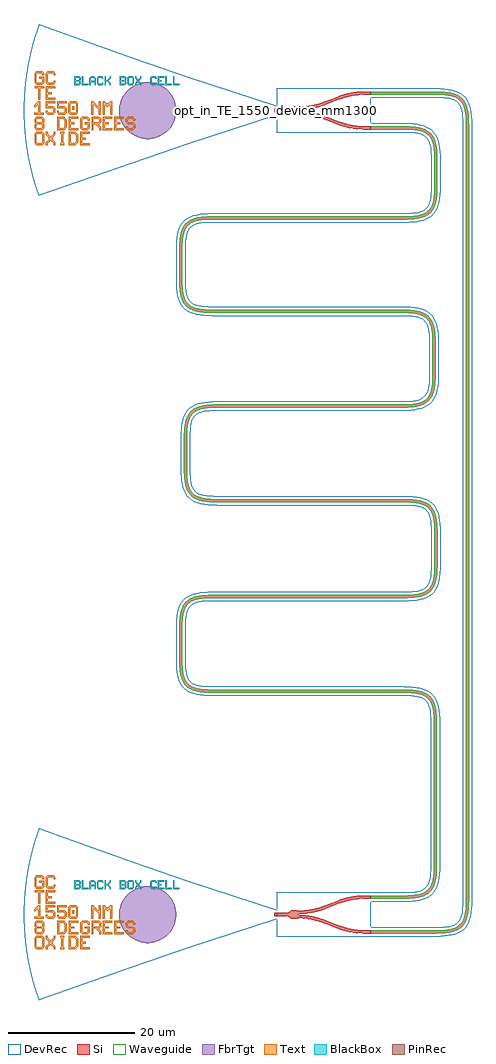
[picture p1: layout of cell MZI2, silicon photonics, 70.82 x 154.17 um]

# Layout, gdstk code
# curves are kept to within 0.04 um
import gdstk
lib = gdstk.Library(unit=1e-6, precision=1e-09)
def R(c, l, rs):  # rectangles x0, y0, x1, y1
    for r in rs: c.add(gdstk.rectangle(r[:2], r[2:], *l))
def P(c, l, *ps):  # polygons
    for p in ps: c.add(gdstk.Polygon(p, *l))
Si = (1, 0)
PinRec = (1, 10)
Waveguide = (1, 99)
Text = (10, 0)
DevRec = (68, 0)
FbrTgt = (81, 0)
BlackBox = (998, 0)

text = lib.new_cell('TEXT')
P(text, BlackBox, [(0,0),(0,1.4),(0.8,1.4),(1,1.2),(0.2,1.2),(0.2,0.8),(0.7,0.8),(0.8,0.9),(0.8,1.1),(0.7,1.2),(1,1.2),(1,0.8),(0.9,0.7),(1,0.6),(0.2,0.6),(0.2,0.2),(0.7,0.2),(0.8,0.3),(0.8,0.5),(0.7,0.6),(1,0.6),(1,0.2),(0.8,0)],
  [(1.2,0),(1.2,1.4),(1.4,1.4),(1.4,0.2),(2.2,0.2),(2.2,0)],
  [(2.4,0),(2.4,1.1),(2.7,1.4),(3.1,1.4),(3.3,1.2),(2.8,1.2),(2.6,1),(2.6,0.7),(3.2,0.7),(3.2,1),(3,1.2),(3.3,1.2),(3.4,1.1),(3.4,0),(3.2,0),(3.2,0.5),(2.6,0.5),(2.6,0)],
  [(3.8,0),(3.6,0.2),(3.6,1.2),(3.8,1.4),(4.4,1.4),(4.6,1.2),(4.6,1),(4.4,1),(4.4,1.1),(4.3,1.2),(3.9,1.2),(3.8,1.1),(3.8,0.3),(3.9,0.2),(4.3,0.2),(4.4,0.3),(4.4,0.4),(4.6,0.4),(4.6,0.2),(4.4,0)],
  [(4.8,0),(4.8,1.4),(5,1.4),(5,0.8),(5.2,0.8),(5.6,1.2),(5.6,1.4),(5.8,1.4),(5.8,1.1),(5.4,0.7),(5.8,0.3),(5.8,0),(5.6,0),(5.6,0.2),(5.2,0.6),(5,0.6),(5,0)],
  [(7.2,0),(7.2,1.4),(8,1.4),(8.2,1.2),(7.4,1.2),(7.4,0.8),(7.9,0.8),(8,0.9),(8,1.1),(7.9,1.2),(8.2,1.2),(8.2,0.8),(8.1,0.7),(8.2,0.6),(7.4,0.6),(7.4,0.2),(7.9,0.2),(8,0.3),(8,0.5),(7.9,0.6),(8.2,0.6),(8.2,0.2),(8,0)],
  [(8.6,0),(8.4,0.2),(8.4,1.2),(8.6,1.4),(9.2,1.4),(9.4,1.2),(9.4,0.7),(9.2,0.7),(9.2,1.1),(9.1,1.2),(8.7,1.2),(8.6,1.1),(8.6,0.3),(8.7,0.2),(9.1,0.2),(9.2,0.3),(9.2,0.7),(9.4,0.7),(9.4,0.2),(9.2,0)],
  [(9.6,0),(9.6,0.3),(9.9,0.6),(9.9,0.8),(9.6,1.1),(9.6,1.4),(9.8,1.4),(9.8,1.2),(10.1,0.9),(10.4,1.2),(10.4,1.4),(10.6,1.4),(10.6,1.1),(10.3,0.8),(10.3,0.6),(10.6,0.3),(10.6,0),(10.4,0),(10.4,0.2),(10.1,0.5),(9.8,0.2),(9.8,0)],
  [(12.2,0),(12,0.2),(12,1.2),(12.2,1.4),(12.8,1.4),(13,1.2),(13,1),(12.8,1),(12.8,1.1),(12.7,1.2),(12.3,1.2),(12.2,1.1),(12.2,0.3),(12.3,0.2),(12.7,0.2),(12.8,0.3),(12.8,0.4),(13,0.4),(13,0.2),(12.8,0)],
  [(13.2,0),(13.2,1.4),(14.2,1.4),(14.2,1.2),(13.4,1.2),(13.4,0.8),(13.8,0.8),(13.8,0.6),(13.4,0.6),(13.4,0.2),(14.2,0.2),(14.2,0)],
  [(14.4,0),(14.4,1.4),(14.6,1.4),(14.6,0.2),(15.4,0.2),(15.4,0)],
  [(15.6,0),(15.6,1.4),(15.8,1.4),(15.8,0.2),(16.6,0.2),(16.6,0)])

gc_te_1550_8degoxide_bb = lib.new_cell('GC_TE_1550_8degOxide_BB')
R(gc_te_1550_8degoxide_bb, Si, [(-0.4,-0.25,0,0.25)])
R(gc_te_1550_8degoxide_bb, Text, [(-32.313,0.092,-32.013,0.692)])
P(gc_te_1550_8degoxide_bb, Text, [(-37.67,1.71),(-37.67,3.51),(-38.27,3.51),(-38.27,3.81),(-36.77,3.81),(-36.77,3.51),(-37.37,3.51),(-37.37,1.71)],
  [(-37.97,-5.49),(-38.27,-5.19),(-38.27,-3.69),(-37.97,-3.39),(-37.07,-3.39),(-36.77,-3.69),(-36.77,-4.44),(-37.07,-4.44),(-37.07,-3.84),(-37.22,-3.69),(-37.82,-3.69),(-37.97,-3.84),(-37.97,-5.04),(-37.82,-5.19),(-37.22,-5.19),(-37.07,-5.04),(-37.07,-4.44),(-36.77,-4.44),(-36.77,-5.19),(-37.07,-5.49)],
  [(-31.07,-5.49),(-31.07,-3.39),(-29.57,-3.39),(-29.57,-3.69),(-30.77,-3.69),(-30.77,-4.29),(-30.17,-4.29),(-30.17,-4.59),(-30.77,-4.59),(-30.77,-5.19),(-29.57,-5.19),(-29.57,-5.49)],
  [(-32.87,-3.09),(-32.87,-0.99),(-31.37,-0.99),(-31.37,-1.29),(-32.57,-1.29),(-32.57,-1.89),(-31.97,-1.89),(-31.97,-2.19),(-32.57,-2.19),(-32.57,-2.79),(-31.37,-2.79),(-31.37,-3.09)],
  [(-27.47,-3.09),(-27.47,-0.99),(-25.97,-0.99),(-25.97,-1.29),(-27.17,-1.29),(-27.17,-1.89),(-26.57,-1.89),(-26.57,-2.19),(-27.17,-2.19),(-27.17,-2.79),(-25.97,-2.79),(-25.97,-3.09)],
  [(-25.67,-3.09),(-25.67,-0.99),(-24.17,-0.99),(-24.17,-1.29),(-25.37,-1.29),(-25.37,-1.89),(-24.77,-1.89),(-24.77,-2.19),(-25.37,-2.19),(-25.37,-2.79),(-24.17,-2.79),(-24.17,-3.09)],
  [(-36.47,1.71),(-36.47,3.81),(-34.97,3.81),(-34.97,3.51),(-36.17,3.51),(-36.17,2.91),(-35.57,2.91),(-35.57,2.61),(-36.17,2.61),(-36.17,2.01),(-34.97,2.01),(-34.97,1.71)],
  [(-29.313,-0.658),(-29.313,1.442),(-29.013,1.442),(-28.263,0.692),(-28.113,0.692),(-28.113,1.442),(-27.813,1.442),(-27.813,-0.658),(-28.113,-0.658),(-28.113,0.092),(-28.863,0.842),(-29.013,0.842),(-29.013,-0.658)],
  [(-34.22,-5.49),(-34.22,-5.19),(-34.07,-5.19),(-34.07,-3.69),(-34.22,-3.69),(-34.22,-3.39),(-33.62,-3.39),(-33.62,-3.69),(-33.77,-3.69),(-33.77,-5.19),(-33.62,-5.19),(-33.62,-5.49)],
  [(-36.17,4.11),(-36.47,4.41),(-36.47,5.91),(-36.17,6.21),(-35.27,6.21),(-34.97,5.91),(-34.97,5.61),(-35.27,5.61),(-35.27,5.76),(-35.42,5.91),(-36.02,5.91),(-36.17,5.76),(-36.17,4.56),(-36.02,4.41),(-35.42,4.41),(-35.27,4.56),(-35.27,4.71),(-34.97,4.71),(-34.97,4.41),(-35.27,4.11)],
  [(-27.513,-0.658),(-27.513,1.442),(-27.213,1.442),(-26.913,1.142),(-26.613,1.142),(-26.313,1.442),(-26.013,1.442),(-26.013,-0.658),(-26.313,-0.658),(-26.313,0.842),(-26.463,0.842),(-26.763,0.542),(-27.063,0.842),(-27.213,0.842),(-27.213,-0.658)],
  [(-32.613,-0.658),(-32.913,-0.358),(-32.913,1.142),(-32.613,1.442),(-31.713,1.442),(-31.413,1.142),(-32.463,1.142),(-32.613,0.992),(-32.613,-0.208),(-32.463,-0.358),(-31.863,-0.358),(-31.713,-0.208),(-31.713,0.992),(-31.863,1.142),(-31.413,1.142),(-31.413,-0.358),(-31.713,-0.658)],
  [(-32.87,-5.49),(-32.87,-3.39),(-31.82,-3.39),(-31.52,-3.69),(-32.57,-3.69),(-32.57,-5.19),(-31.97,-5.19),(-31.67,-4.89),(-31.67,-3.99),(-31.97,-3.69),(-31.52,-3.69),(-31.37,-3.84),(-31.37,-5.04),(-31.82,-5.49)],
  [(-34.67,-3.09),(-34.67,-0.99),(-33.62,-0.99),(-33.32,-1.29),(-34.37,-1.29),(-34.37,-2.79),(-33.77,-2.79),(-33.47,-2.49),(-33.47,-1.59),(-33.77,-1.29),(-33.32,-1.29),(-33.17,-1.44),(-33.17,-2.64),(-33.62,-3.09)],
  [(-23.57,-3.09),(-23.87,-2.79),(-23.87,-2.49),(-23.57,-2.49),(-23.57,-2.64),(-23.42,-2.79),(-22.82,-2.79),(-22.67,-2.64),(-22.67,-2.34),(-22.82,-2.19),(-23.57,-2.19),(-23.87,-1.89),(-23.87,-1.29),(-23.57,-0.99),(-22.67,-0.99),(-22.37,-1.29),(-22.37,-1.59),(-22.67,-1.59),(-22.67,-1.44),(-22.82,-1.29),(-23.42,-1.29),(-23.57,-1.44),(-23.57,-1.74),(-23.42,-1.89),(-22.67,-1.89),(-22.37,-2.19),(-22.37,-2.79),(-22.67,-3.09)],
  [(-36.213,-0.658),(-36.513,-0.358),(-36.513,-0.058),(-36.213,-0.058),(-36.213,-0.208),(-36.063,-0.358),(-35.463,-0.358),(-35.313,-0.208),(-35.313,0.242),(-35.463,0.392),(-36.513,0.392),(-36.513,1.442),(-35.013,1.442),(-35.013,1.142),(-36.213,1.142),(-36.213,0.692),(-35.313,0.692),(-35.013,0.392),(-35.013,-0.358),(-35.313,-0.658)],
  [(-34.413,-0.658),(-34.713,-0.358),(-34.713,-0.058),(-34.413,-0.058),(-34.413,-0.208),(-34.263,-0.358),(-33.663,-0.358),(-33.513,-0.208),(-33.513,0.242),(-33.663,0.392),(-34.713,0.392),(-34.713,1.442),(-33.213,1.442),(-33.213,1.142),(-34.413,1.142),(-34.413,0.692),(-33.513,0.692),(-33.213,0.392),(-33.213,-0.358),(-33.513,-0.658)],
  [(-37.97,-3.09),(-38.27,-2.79),(-38.27,-2.19),(-38.12,-2.04),(-38.27,-1.89),(-38.27,-1.29),(-37.97,-0.99),(-37.07,-0.99),(-36.77,-1.29),(-37.82,-1.29),(-37.97,-1.44),(-37.97,-1.74),(-37.82,-1.89),(-37.22,-1.89),(-37.07,-1.74),(-37.07,-1.44),(-37.22,-1.29),(-36.77,-1.29),(-36.77,-1.89),(-36.92,-2.04),(-36.77,-2.19),(-37.82,-2.19),(-37.97,-2.34),(-37.97,-2.64),(-37.82,-2.79),(-37.22,-2.79),(-37.07,-2.64),(-37.07,-2.34),(-37.22,-2.19),(-36.77,-2.19),(-36.77,-2.79),(-37.07,-3.09)],
  [(-38.313,-0.658),(-38.313,-0.358),(-37.713,-0.358),(-37.713,0.842),(-37.863,0.842),(-38.163,0.542),(-38.313,0.542),(-38.313,0.842),(-37.713,1.442),(-37.413,1.442),(-37.413,-0.358),(-36.813,-0.358),(-36.813,-0.658)],
  [(-36.47,-5.49),(-36.47,-5.04),(-36.02,-4.59),(-36.02,-4.29),(-36.47,-3.84),(-36.47,-3.39),(-36.17,-3.39),(-36.17,-3.69),(-35.72,-4.14),(-35.27,-3.69),(-35.27,-3.39),(-34.97,-3.39),(-34.97,-3.84),(-35.42,-4.29),(-35.42,-4.59),(-34.97,-5.04),(-34.97,-5.49),(-35.27,-5.49),(-35.27,-5.19),(-35.72,-4.74),(-36.17,-5.19),(-36.17,-5.49)],
  [(-30.77,-3.09),(-31.07,-2.79),(-31.07,-1.29),(-30.77,-0.99),(-29.87,-0.99),(-29.57,-1.29),(-29.57,-1.59),(-29.87,-1.59),(-29.87,-1.44),(-30.02,-1.29),(-30.62,-1.29),(-30.77,-1.44),(-30.77,-2.64),(-30.62,-2.79),(-30.02,-2.79),(-29.87,-2.64),(-29.87,-2.19),(-30.32,-2.19),(-30.32,-1.89),(-29.57,-1.89),(-29.57,-2.79),(-29.87,-3.09)],
  [(-37.97,4.11),(-38.27,4.41),(-38.27,5.91),(-37.97,6.21),(-37.07,6.21),(-36.77,5.91),(-36.77,5.61),(-37.07,5.61),(-37.07,5.76),(-37.22,5.91),(-37.82,5.91),(-37.97,5.76),(-37.97,4.56),(-37.82,4.41),(-37.22,4.41),(-37.07,4.56),(-37.07,5.01),(-37.52,5.01),(-37.52,5.31),(-36.77,5.31),(-36.77,4.41),(-37.07,4.11)],
  [(-29.27,-3.09),(-29.27,-0.99),(-28.07,-0.99),(-27.77,-1.29),(-28.97,-1.29),(-28.97,-1.89),(-28.22,-1.89),(-28.07,-1.74),(-28.07,-1.44),(-28.22,-1.29),(-27.77,-1.29),(-27.77,-1.89),(-28.07,-2.19),(-28.07,-2.34),(-27.77,-2.64),(-27.77,-3.09),(-28.07,-3.09),(-28.07,-2.79),(-28.67,-2.19),(-28.97,-2.19),(-28.97,-3.09)])
P(gc_te_1550_8degoxide_bb, DevRec, [(-37.607,-13.5),(-38.627,-10.245),(-39.378,-6.832),(-39.647,-5.058),(-39.835,-3.274),(-39.969,0.224),(-39.812,3.541),(-39.331,7.097),(-38.557,10.505),(-37.546,13.669),(-22.8,8.353),(-14.109,5.36),(0,0.75),(0,-0.75),(-14.109,-5.36)])
P(gc_te_1550_8degoxide_bb, FbrTgt, [(-20.621,-4.5),(-21.495,-4.37),(-22.326,-4.073),(-23.084,-3.619),(-23.738,-3.026),(-24.264,-2.316),(-24.642,-1.518),(-24.857,-0.661),(-24.9,0.221),(-24.77,1.095),(-24.473,1.926),(-24.019,2.684),(-23.426,3.338),(-22.716,3.864),(-21.918,4.242),(-21.061,4.457),(-20.179,4.5),(-19.305,4.37),(-18.474,4.073),(-17.716,3.619),(-17.062,3.026),(-16.536,2.316),(-16.158,1.518),(-15.943,0.661),(-15.9,-0.221),(-16.03,-1.095),(-16.327,-1.926),(-16.781,-2.684),(-17.374,-3.338),(-18.084,-3.864),(-18.882,-4.242),(-19.739,-4.457)])
gc_te_1550_8degoxide_bb.add(gdstk.FlexPath([(-0.01,0),(0.01,0)], 0.5, ends="flush", simple_path=True, layer=1, datatype=10))  # PinRec
gc_te_1550_8degoxide_bb.add(gdstk.Reference(text, (-32,4)))
gc_te_1550_8degoxide_bb.add(gdstk.Label('opt1', (0,0), layer=1, texttype=10))
gc_te_1550_8degoxide_bb.add(gdstk.Label('Lumerical_INTERCONNECT_library=Design kits/ebeam', (-29,-7), layer=68, texttype=0))
gc_te_1550_8degoxide_bb.add(gdstk.Label('Component=GC_TE_1550_8degOxide_BB', (-28,-5), layer=68, texttype=0))

ebeam_y_1550 = lib.new_cell('ebeam_y_1550')
R(ebeam_y_1550, Si, [(6.5,-3,7.4,-2.5), (-7.4,-0.25,-6,0.25), (6.5,2.5,7.4,3)])
P(ebeam_y_1550, Si, [(6.458,-3),(6.237,-2.997),(6.237,-2.497),(6.5,-2.5),(6.5,-3)],
  [(5.033,-2.908),(3.59,-2.634),(2.265,-2.21),(2.445,-1.744),(3.731,-2.154),(5.033,-2.404)],
  [(6.233,-2.997),(5.033,-2.908),(5.033,-2.404),(6.237,-2.497)],
  [(2.265,-2.21),(0.055,-1.356),(0.235,-0.89),(2.445,-1.744)],
  [(-0.762,-1.076),(-2.334,-0.724),(-4,-0.6),(-4,-0.1),(-2.381,-0.212),(-0.762,-0.555)],
  [(0.055,-1.356),(-0.762,-1.076),(-0.762,-0.555),(0.235,-0.89)],
  [(6.237,2.497),(6.237,2.997),(6.5,3),(6.5,2.5)],
  [(2.445,1.744),(2.267,2.211),(3.59,2.634),(5.033,2.908),(5.033,2.404),(3.731,2.154)],
  [(5.033,2.404),(5.033,2.908),(6.237,2.997),(6.237,2.497)],
  [(0.235,0.89),(0.055,1.356),(2.265,2.21),(2.445,1.744)],
  [(-4,0.1),(-4,0.6),(-2.334,0.724),(-0.762,1.076),(-0.762,0.555),(-2.381,0.212)],
  [(-0.762,0.555),(-0.762,1.076),(0.055,1.356),(0.235,0.89)],
  [(-5.122,-0.662),(-5.442,-0.374),(-5.808,-0.255),(-6,-0.25),(-6,0.25),(-5.817,0.253),(-5.442,0.374),(-5.122,0.662)],
  [(-4.957,-0.703),(-5.122,-0.662),(-5.122,0.662),(-4.538,0.703),(-4,0.6),(-4,-0.6),(-4.509,-0.701)])
R(ebeam_y_1550, DevRec, [(-7.4,-3.5,7.4,3.5)])
ebeam_y_1550.add(gdstk.FlexPath([(-7.35,0),(-7.45,0)], 0.5, ends="flush", simple_path=True, layer=1, datatype=10))  # PinRec
ebeam_y_1550.add(gdstk.FlexPath([(7.35,2.75),(7.45,2.75)], 0.5, ends="flush", simple_path=True, layer=1, datatype=10))  # PinRec
ebeam_y_1550.add(gdstk.FlexPath([(7.35,-2.75),(7.45,-2.75)], 0.5, ends="flush", simple_path=True, layer=1, datatype=10))  # PinRec
ebeam_y_1550.add(gdstk.Label('opt2', (7.4,2.75), layer=1, texttype=10))
ebeam_y_1550.add(gdstk.Label('opt3', (7.4,-2.75), layer=1, texttype=10))
ebeam_y_1550.add(gdstk.Label('opt1', (-7.4,0), layer=1, texttype=10))
ebeam_y_1550.add(gdstk.Label('Component=ebeam_y_1550', (-6,1.5), layer=68, texttype=0))
ebeam_y_1550.add(gdstk.Label('Lumerical_INTERCONNECT_library=Design kits/ebeam', (-6.86,-2.19), layer=68, texttype=0))
ebeam_y_1550.add(gdstk.Label('Ref: Y Zhang, Opt. Express, 21/1, 2013', (-7.5,-1), layer=10, texttype=0))

waveguide_7 = lib.new_cell('Waveguide$7')
P(waveguide_7, Si, [(15.01,-3.31),(15.01,-2.81),(25.74,-2.805),(26.872,-2.738),(27.792,-2.581),(28.406,-2.373),(28.806,-2.153),(29.135,-1.883),(29.406,-1.553),(29.798,-0.672),(30.009,0.555),(30.062,1.94),(30.062,124.44),(29.971,126.169),(29.717,127.305),(29.277,128.108),(28.979,128.406),(28.615,128.65),(28.176,128.846),(27.508,129.025),(26.518,129.152),(25.529,129.189),(15.01,129.19),(15.01,129.69),(25.533,129.689),(26.743,129.635),(27.761,129.483),(28.479,129.265),(29.192,128.873),(29.663,128.424),(30.022,127.863),(30.317,127.044),(30.467,126.231),(30.552,125.088),(30.562,1.94),(30.507,0.509),(30.235,-0.953),(30.023,-1.482),(29.745,-1.94),(29.395,-2.326),(28.973,-2.64),(28.48,-2.884),(27.916,-3.065),(26.926,-3.236),(25.75,-3.305)])
P(waveguide_7, Waveguide, [(15.01,-3.31),(15.01,-2.81),(25.74,-2.805),(26.872,-2.738),(27.792,-2.581),(28.406,-2.373),(28.806,-2.153),(29.135,-1.883),(29.406,-1.553),(29.798,-0.672),(30.009,0.555),(30.062,1.94),(30.062,124.44),(29.971,126.169),(29.717,127.305),(29.277,128.108),(28.979,128.406),(28.615,128.65),(28.176,128.846),(27.508,129.025),(26.518,129.152),(25.529,129.189),(15.01,129.19),(15.01,129.69),(25.533,129.689),(26.743,129.635),(27.761,129.483),(28.479,129.265),(29.192,128.873),(29.663,128.424),(30.022,127.863),(30.317,127.044),(30.467,126.231),(30.552,125.088),(30.562,1.94),(30.507,0.509),(30.235,-0.953),(30.023,-1.482),(29.745,-1.94),(29.395,-2.326),(28.973,-2.64),(28.48,-2.884),(27.916,-3.065),(26.926,-3.236),(25.75,-3.305)])
P(waveguide_7, DevRec, [(15.01,-3.81),(15.01,-2.31),(25.962,-2.299),(27.057,-2.212),(27.888,-2.034),(28.471,-1.774),(28.688,-1.617),(29.027,-1.218),(29.387,-0.253),(29.52,0.71),(29.562,1.94),(29.562,124.44),(29.464,126.185),(29.286,127.016),(29.166,127.336),(28.869,127.816),(28.687,127.998),(28.207,128.295),(27.056,128.593),(25.311,128.69),(15.01,128.69),(15.01,130.19),(25.313,130.19),(26.662,130.144),(27.821,129.981),(28.821,129.663),(29.661,129.138),(30.009,128.79),(30.3,128.391),(30.716,127.468),(30.95,126.393),(31.051,125.142),(31.062,1.94),(31.016,0.59),(30.853,-0.569),(30.717,-1.087),(30.301,-2.01),(29.662,-2.757),(29.263,-3.048),(28.34,-3.464),(27.265,-3.698),(26.014,-3.799)])
waveguide_7.add(gdstk.FlexPath([(15.02,129.44),(15,129.44)], 0.5, ends="flush", simple_path=True, layer=1, datatype=10))  # PinRec
waveguide_7.add(gdstk.FlexPath([(15.02,-3.06),(15,-3.06)], 0.5, ends="flush", simple_path=True, layer=1, datatype=10))  # PinRec
waveguide_7.add(gdstk.Label('opt1', (15.01,129.44), layer=1, texttype=10))
waveguide_7.add(gdstk.Label('opt2', (15.01,-3.06), layer=1, texttype=10))
waveguide_7.add(gdstk.Label('Lumerical_INTERCONNECT_library=Design kits/EBeam', (15.01,129.34), layer=68, texttype=0))
waveguide_7.add(gdstk.Label('Component=ebeam_wg_integral_1550', (15.01,129.54), layer=68, texttype=0))
waveguide_7.add(gdstk.Label('cellName=Waveguide', (15.01,129.64), layer=68, texttype=0))
waveguide_7.add(gdstk.Label('Spice_param:wg_length=0.000160001 wg_width=5e-07 points="[[15.01,129.44],[30.312,129.44],[30.312,-3.06],[15.01,-3.06]]" radius=5e-06', (15.01,129.44), layer=68, texttype=0))
waveguide_7.add(gdstk.Label('Length=160.001 (microns)', (15.01,128.84), layer=68, texttype=0))
waveguide_7.add(gdstk.Label('waveguide_type=Strip TE 1550 nm, w=500 nm', (15.01,129.24), layer=68, texttype=0))

waveguide_8 = lib.new_cell('Waveguide$8')
P(waveguide_8, Si, [(15.01,2.19),(15.01,2.69),(20.882,2.7),(21.979,2.781),(22.863,2.955),(23.554,3.231),(24.073,3.617),(24.46,4.137),(24.736,4.828),(24.929,5.881),(24.999,7.223),(24.998,30.187),(24.961,31.177),(24.834,32.167),(24.655,32.835),(24.343,33.464),(23.832,34.001),(23.114,34.376),(22.139,34.608),(21.079,34.703),(-10.193,34.722),(-11.761,34.815),(-13.003,35.095),(-13.851,35.538),(-14.403,36.09),(-14.795,36.803),(-15.075,37.84),(-15.18,38.728),(-15.22,39.97),(-15.215,45.368),(-15.101,46.894),(-14.975,47.534),(-14.739,48.228),(-14.402,48.811),(-14.052,49.197),(-13.63,49.511),(-13.002,49.806),(-12.262,50.005),(-11.401,50.125),(-9.97,50.18),(20.557,50.182),(22.23,50.293),(23.322,50.57),(24.008,50.965),(24.493,51.53),(24.826,52.318),(25.019,53.371),(25.089,54.713),(25.08,60.682),(24.952,62.095),(24.7,63.032),(24.305,63.718),(24.007,64.016),(23.643,64.26),(22.681,64.605),(21.361,64.773),(-9.445,64.802),(-11.013,64.895),(-12.255,65.175),(-12.994,65.541),(-13.574,66.067),(-13.992,66.753),(-14.297,67.758),(-14.417,68.619),(-14.471,69.829),(-14.47,75.233),(-14.398,76.624),(-14.264,77.46),(-14.046,78.178),(-13.731,78.782),(-13.399,79.187),(-12.993,79.52),(-12.389,79.835),(-11.671,80.053),(-10.835,80.187),(-9.222,80.26),(20.257,80.262),(21.93,80.373),(23.022,80.65),(23.708,81.045),(24.134,81.517),(24.487,82.269),(24.7,83.282),(24.789,84.793),(24.785,90.408),(24.699,91.709),(24.525,92.593),(24.133,93.474),(23.863,93.803),(23.533,94.074),(23.133,94.294),(22.519,94.502),(21.246,94.692),(-10.193,94.732),(-11.761,94.825),(-12.864,95.058),(-13.631,95.4),(-14.237,95.898),(-14.681,96.558),(-15.013,97.531),(-15.147,98.367),(-15.216,99.543),(-15.192,105.77),(-15.101,106.684),(-14.935,107.471),(-14.68,108.143),(-14.321,108.704),(-13.85,109.153),(-13.267,109.49),(-12.573,109.726),(-11.76,109.876),(-9.97,109.97),(20.758,109.975),(22.375,110.108),(23.072,110.274),(23.531,110.458),(24.153,110.897),(24.593,111.52),(24.885,112.379),(25.042,113.514),(25.041,120.147),(24.851,121.42),(24.643,122.034),(24.423,122.434),(23.997,122.906),(23.53,123.203),(22.809,123.462),(22.058,123.6),(20.547,123.689),(15.01,123.69),(15.01,124.19),(21.379,124.163),(22.293,124.072),(23.08,123.906),(23.627,123.71),(24.21,123.373),(24.596,123.023),(24.977,122.484),(25.252,121.834),(25.434,121.071),(25.539,120.183),(25.58,118.94),(25.576,114.283),(25.462,112.757),(25.253,111.827),(24.911,111.06),(24.413,110.454),(23.753,110.01),(23.224,109.798),(22.461,109.616),(20.768,109.475),(-9.97,109.47),(-11.529,109.399),(-12.311,109.275),(-13.063,109.034),(-13.552,108.751),(-13.935,108.388),(-14.232,107.921),(-14.455,107.333),(-14.607,106.61),(-14.692,105.742),(-14.716,99.553),(-14.555,97.784),(-14.284,96.887),(-13.936,96.313),(-13.464,95.887),(-12.712,95.534),(-11.699,95.321),(-10.187,95.232),(21.282,95.19),(22.79,94.946),(23.337,94.75),(23.811,94.49),(24.217,94.157),(24.549,93.752),(24.809,93.278),(25.005,92.731),(25.195,91.771),(25.285,90.418),(25.286,84.573),(25.172,83.047),(24.916,81.978),(24.55,81.239),(23.921,80.578),(23.208,80.186),(22.004,79.879),(20.478,79.765),(-9.222,79.76),(-10.607,79.707),(-11.418,79.595),(-12.086,79.416),(-12.525,79.22),(-12.968,78.907),(-13.315,78.504),(-13.582,77.992),(-13.776,77.352),(-13.9,76.57),(-13.97,75.227),(-13.971,69.833),(-13.835,68.006),(-13.628,67.186),(-13.253,66.468),(-12.716,65.957),(-12.087,65.645),(-10.951,65.391),(-9.439,65.302),(21.389,65.273),(22.789,65.093),(23.372,64.926),(23.883,64.698),(24.606,64.133),(24.92,63.711),(25.164,63.218),(25.444,62.181),(25.58,60.698),(25.589,54.709),(25.496,53.14),(25.263,52.037),(24.85,51.159),(24.221,50.498),(23.508,50.106),(22.304,49.799),(20.563,49.682),(-11.176,49.642),(-12.014,49.543),(-12.711,49.377),(-13.273,49.14),(-13.637,48.896),(-13.935,48.598),(-14.232,48.131),(-14.416,47.672),(-14.582,46.975),(-14.681,46.137),(-14.72,44.93),(-14.716,39.543),(-14.608,38.081),(-14.376,37.106),(-14.064,36.477),(-13.553,35.94),(-12.835,35.565),(-11.699,35.311),(-10.187,35.222),(21.101,35.203),(22.38,35.075),(23.417,34.795),(24.13,34.403),(24.759,33.742),(25.074,33.138),(25.292,32.42),(25.426,31.584),(25.495,30.408),(25.499,7.219),(25.406,5.65),(25.173,4.547),(24.831,3.78),(24.333,3.174),(23.673,2.73),(22.7,2.398),(21.864,2.264),(20.898,2.2)])
P(waveguide_8, Waveguide, [(15.01,2.19),(15.01,2.69),(20.882,2.7),(21.979,2.781),(22.863,2.955),(23.554,3.231),(24.073,3.617),(24.46,4.137),(24.736,4.828),(24.929,5.881),(24.999,7.223),(24.998,30.187),(24.961,31.177),(24.834,32.167),(24.655,32.835),(24.343,33.464),(23.832,34.001),(23.114,34.376),(22.139,34.608),(21.079,34.703),(-10.193,34.722),(-11.761,34.815),(-13.003,35.095),(-13.851,35.538),(-14.403,36.09),(-14.795,36.803),(-15.075,37.84),(-15.18,38.728),(-15.22,39.97),(-15.215,45.368),(-15.101,46.894),(-14.975,47.534),(-14.739,48.228),(-14.402,48.811),(-14.052,49.197),(-13.63,49.511),(-13.002,49.806),(-12.262,50.005),(-11.401,50.125),(-9.97,50.18),(20.557,50.182),(22.23,50.293),(23.322,50.57),(24.008,50.965),(24.493,51.53),(24.826,52.318),(25.019,53.371),(25.089,54.713),(25.08,60.682),(24.952,62.095),(24.7,63.032),(24.305,63.718),(24.007,64.016),(23.643,64.26),(22.681,64.605),(21.361,64.773),(-9.445,64.802),(-11.013,64.895),(-12.255,65.175),(-12.994,65.541),(-13.574,66.067),(-13.992,66.753),(-14.297,67.758),(-14.417,68.619),(-14.471,69.829),(-14.47,75.233),(-14.398,76.624),(-14.264,77.46),(-14.046,78.178),(-13.731,78.782),(-13.399,79.187),(-12.993,79.52),(-12.389,79.835),(-11.671,80.053),(-10.835,80.187),(-9.222,80.26),(20.257,80.262),(21.93,80.373),(23.022,80.65),(23.708,81.045),(24.134,81.517),(24.487,82.269),(24.7,83.282),(24.789,84.793),(24.785,90.408),(24.699,91.709),(24.525,92.593),(24.133,93.474),(23.863,93.803),(23.533,94.074),(23.133,94.294),(22.519,94.502),(21.246,94.692),(-10.193,94.732),(-11.761,94.825),(-12.864,95.058),(-13.631,95.4),(-14.237,95.898),(-14.681,96.558),(-15.013,97.531),(-15.147,98.367),(-15.216,99.543),(-15.192,105.77),(-15.101,106.684),(-14.935,107.471),(-14.68,108.143),(-14.321,108.704),(-13.85,109.153),(-13.267,109.49),(-12.573,109.726),(-11.76,109.876),(-9.97,109.97),(20.758,109.975),(22.375,110.108),(23.072,110.274),(23.531,110.458),(24.153,110.897),(24.593,111.52),(24.885,112.379),(25.042,113.514),(25.041,120.147),(24.851,121.42),(24.643,122.034),(24.423,122.434),(23.997,122.906),(23.53,123.203),(22.809,123.462),(22.058,123.6),(20.547,123.689),(15.01,123.69),(15.01,124.19),(21.379,124.163),(22.293,124.072),(23.08,123.906),(23.627,123.71),(24.21,123.373),(24.596,123.023),(24.977,122.484),(25.252,121.834),(25.434,121.071),(25.539,120.183),(25.58,118.94),(25.576,114.283),(25.462,112.757),(25.253,111.827),(24.911,111.06),(24.413,110.454),(23.753,110.01),(23.224,109.798),(22.461,109.616),(20.768,109.475),(-9.97,109.47),(-11.529,109.399),(-12.311,109.275),(-13.063,109.034),(-13.552,108.751),(-13.935,108.388),(-14.232,107.921),(-14.455,107.333),(-14.607,106.61),(-14.692,105.742),(-14.716,99.553),(-14.555,97.784),(-14.284,96.887),(-13.936,96.313),(-13.464,95.887),(-12.712,95.534),(-11.699,95.321),(-10.187,95.232),(21.282,95.19),(22.79,94.946),(23.337,94.75),(23.811,94.49),(24.217,94.157),(24.549,93.752),(24.809,93.278),(25.005,92.731),(25.195,91.771),(25.285,90.418),(25.286,84.573),(25.172,83.047),(24.916,81.978),(24.55,81.239),(23.921,80.578),(23.208,80.186),(22.004,79.879),(20.478,79.765),(-9.222,79.76),(-10.607,79.707),(-11.418,79.595),(-12.086,79.416),(-12.525,79.22),(-12.968,78.907),(-13.315,78.504),(-13.582,77.992),(-13.776,77.352),(-13.9,76.57),(-13.97,75.227),(-13.971,69.833),(-13.835,68.006),(-13.628,67.186),(-13.253,66.468),(-12.716,65.957),(-12.087,65.645),(-10.951,65.391),(-9.439,65.302),(21.389,65.273),(22.789,65.093),(23.372,64.926),(23.883,64.698),(24.606,64.133),(24.92,63.711),(25.164,63.218),(25.444,62.181),(25.58,60.698),(25.589,54.709),(25.496,53.14),(25.263,52.037),(24.85,51.159),(24.221,50.498),(23.508,50.106),(22.304,49.799),(20.563,49.682),(-11.176,49.642),(-12.014,49.543),(-12.711,49.377),(-13.273,49.14),(-13.637,48.896),(-13.935,48.598),(-14.232,48.131),(-14.416,47.672),(-14.582,46.975),(-14.681,46.137),(-14.72,44.93),(-14.716,39.543),(-14.608,38.081),(-14.376,37.106),(-14.064,36.477),(-13.553,35.94),(-12.835,35.565),(-11.699,35.311),(-10.187,35.222),(21.101,35.203),(22.38,35.075),(23.417,34.795),(24.13,34.403),(24.759,33.742),(25.074,33.138),(25.292,32.42),(25.426,31.584),(25.495,30.408),(25.499,7.219),(25.406,5.65),(25.173,4.547),(24.831,3.78),(24.333,3.174),(23.673,2.73),(22.7,2.398),(21.864,2.264),(20.898,2.2)])
P(waveguide_8, DevRec, [(15.01,1.69),(15.01,3.19),(20.9,3.201),(22.444,3.366),(23.146,3.586),(23.626,3.883),(23.965,4.282),(24.225,4.865),(24.458,6.21),(24.5,7.44),(24.5,29.97),(24.402,31.715),(24.224,32.546),(23.964,33.129),(23.807,33.346),(23.408,33.685),(22.825,33.945),(21.994,34.123),(20.899,34.21),(-9.97,34.22),(-11.923,34.332),(-12.998,34.566),(-13.921,34.982),(-14.668,35.621),(-15.193,36.461),(-15.511,37.461),(-15.674,38.62),(-15.72,39.969),(-15.709,45.632),(-15.608,46.883),(-15.374,47.958),(-15.192,48.44),(-14.667,49.28),(-14.319,49.628),(-13.92,49.919),(-12.997,50.335),(-12.479,50.471),(-11.32,50.634),(-9.97,50.68),(20.34,50.68),(22.085,50.778),(23.236,51.076),(23.716,51.373),(23.898,51.555),(24.195,52.035),(24.415,52.737),(24.548,53.7),(24.579,60.7),(24.492,61.795),(24.194,62.946),(23.897,63.426),(23.715,63.608),(23.235,63.905),(22.084,64.203),(20.989,64.29),(-9.222,64.3),(-11.175,64.412),(-12.25,64.646),(-13.173,65.062),(-13.92,65.701),(-14.445,66.541),(-14.763,67.541),(-14.962,69.349),(-14.925,76.361),(-14.762,77.52),(-14.626,78.038),(-14.21,78.961),(-13.919,79.36),(-13.571,79.708),(-12.731,80.233),(-12.249,80.415),(-11.174,80.649),(-9.222,80.76),(20.04,80.76),(21.785,80.858),(22.936,81.156),(23.416,81.453),(23.598,81.635),(23.895,82.115),(24.115,82.817),(24.248,83.78),(24.279,90.63),(24.192,91.725),(24.014,92.556),(23.894,92.876),(23.597,93.356),(23.415,93.538),(22.935,93.835),(21.784,94.133),(20.689,94.22),(-9.97,94.23),(-11.923,94.342),(-12.998,94.576),(-13.921,94.992),(-14.668,95.631),(-15.193,96.471),(-15.511,97.471),(-15.71,99.279),(-15.709,105.422),(-15.608,106.673),(-15.374,107.748),(-14.958,108.671),(-14.667,109.07),(-14.319,109.418),(-13.479,109.943),(-12.997,110.125),(-11.922,110.359),(-9.97,110.47),(20.33,110.47),(22.075,110.568),(23.226,110.866),(23.706,111.163),(23.888,111.345),(24.185,111.825),(24.405,112.527),(24.538,113.49),(24.58,118.938),(24.537,120.171),(24.404,121.134),(24.044,122.099),(23.705,122.498),(23.225,122.795),(22.074,123.093),(20.329,123.19),(15.01,123.19),(15.01,124.69),(21.031,124.68),(22.839,124.481),(23.839,124.163),(24.28,123.929),(24.679,123.638),(25.318,122.891),(25.552,122.45),(25.87,121.45),(26.033,120.291),(26.08,118.942),(26.07,114.019),(25.969,112.768),(25.735,111.693),(25.319,110.77),(25.028,110.371),(24.281,109.732),(23.84,109.498),(22.84,109.18),(21.032,108.981),(-9.97,108.97),(-11.714,108.873),(-12.865,108.575),(-13.345,108.278),(-13.684,107.879),(-14.044,106.914),(-14.209,105.37),(-14.21,99.331),(-14.045,97.787),(-13.825,97.085),(-13.528,96.605),(-13.129,96.266),(-12.546,96.006),(-11.715,95.828),(-9.97,95.73),(20.04,95.73),(21.39,95.684),(22.549,95.521),(23.067,95.385),(23.99,94.969),(24.737,94.33),(25.028,93.931),(25.444,93.008),(25.678,91.933),(25.779,90.682),(25.79,85.009),(25.679,83.058),(25.445,81.983),(25.029,81.06),(24.39,80.313),(23.55,79.788),(22.55,79.47),(20.742,79.271),(-10.452,79.218),(-11.797,78.985),(-12.117,78.865),(-12.597,78.568),(-12.779,78.386),(-13.076,77.906),(-13.374,76.755),(-13.472,75.009),(-13.472,70.051),(-13.375,68.306),(-13.197,67.475),(-12.937,66.892),(-12.78,66.675),(-12.381,66.336),(-11.798,66.076),(-10.967,65.898),(-9.222,65.8),(20.34,65.8),(21.69,65.754),(22.849,65.591),(23.367,65.455),(24.29,65.039),(25.037,64.4),(25.562,63.56),(25.88,62.56),(26.079,60.752),(26.09,54.929),(25.979,52.978),(25.745,51.903),(25.329,50.98),(24.69,50.233),(23.85,49.708),(22.85,49.39),(21.042,49.191),(-11.2,49.138),(-12.545,48.905),(-12.865,48.785),(-13.345,48.488),(-13.527,48.306),(-13.824,47.826),(-14.122,46.675),(-14.22,44.929),(-14.22,39.971),(-14.123,38.226),(-13.945,37.395),(-13.685,36.812),(-13.528,36.595),(-13.129,36.256),(-12.546,35.996),(-11.715,35.818),(-9.97,35.72),(20.951,35.71),(22.759,35.511),(23.759,35.193),(24.599,34.668),(25.238,33.921),(25.472,33.48),(25.79,32.48),(25.953,31.321),(26,29.97),(26,7.44),(25.889,5.488),(25.655,4.413),(25.239,3.49),(24.6,2.743),(23.76,2.218),(22.76,1.9),(20.952,1.701)])
waveguide_8.add(gdstk.FlexPath([(15.02,123.94),(15,123.94)], 0.5, ends="flush", simple_path=True, layer=1, datatype=10))  # PinRec
waveguide_8.add(gdstk.FlexPath([(15.02,2.44),(15,2.44)], 0.5, ends="flush", simple_path=True, layer=1, datatype=10))  # PinRec
waveguide_8.add(gdstk.Label('opt1', (15.01,123.94), layer=1, texttype=10))
waveguide_8.add(gdstk.Label('opt2', (15.01,2.44), layer=1, texttype=10))
waveguide_8.add(gdstk.Label('Lumerical_INTERCONNECT_library=Design kits/EBeam', (15.01,123.84), layer=68, texttype=0))
waveguide_8.add(gdstk.Label('Component=ebeam_wg_integral_1550', (15.01,124.04), layer=68, texttype=0))
waveguide_8.add(gdstk.Label('cellName=Waveguide', (15.01,124.14), layer=68, texttype=0))
waveguide_8.add(gdstk.Label('Length=360.001 (microns)', (15.01,123.34), layer=68, texttype=0))
waveguide_8.add(gdstk.Label('waveguide_type=Strip TE 1550 nm, w=500 nm', (15.01,123.74), layer=68, texttype=0))

mzi2 = lib.new_cell('MZI2')
mzi2.add(gdstk.Reference(gc_te_1550_8degoxide_bb, (0.21,-0.31)))
mzi2.add(gdstk.Reference(ebeam_y_1550, (7.61,126.69)))
mzi2.add(gdstk.Reference(ebeam_y_1550, (7.61,-0.31)))
mzi2.add(gdstk.Reference(gc_te_1550_8degoxide_bb, (0.21,126.69)))
mzi2.add(gdstk.Reference(waveguide_7, (0,0)))
mzi2.add(gdstk.Reference(waveguide_8, (0,0)))
mzi2.add(gdstk.Label('opt_in_TE_1550_device_mm13000_MZI2', (0.21,126.69), layer=10, texttype=0))

lib.write_gds('MZI2.gds')
